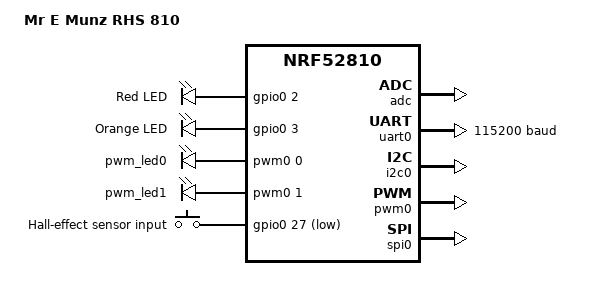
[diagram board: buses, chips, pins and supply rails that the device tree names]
/*
 * Copyright (c) 2024 Mr E Munz
 * All rights reserved
 */

/dts-v1/;
#include <nordic/nrf52810_qfaa.dtsi>
#include "emunz_rhs810-pinctrl.dtsi"
#include <zephyr/dt-bindings/input/input-event-codes.h>

/ {
	model = "Mr E Munz RHS 810";
	compatible = "nordic,nrf52-dk-nrf52810";

	chosen {
		zephyr,console = &uart0;
		zephyr,shell-uart = &uart0;
		zephyr,uart-mcumgr = &uart0;
		zephyr,bt-mon-uart = &uart0;
		zephyr,bt-c2h-uart = &uart0;
		zephyr,sram = &sram0;
		zephyr,flash = &flash0;
		zephyr,code-partition = &slot0_partition;
	};

	leds {
		compatible = "gpio-leds";
		led0: led_0 {
			gpios = <&gpio0 2 GPIO_ACTIVE_HIGH>;
			label = "Red LED";
		};
		led1: led_1 {
			gpios = <&gpio0 3 GPIO_ACTIVE_HIGH>;
			label = "Orange LED";
		};
	};


	user_led: pwmleds {
		compatible = "pwm-leds";
		pwm_led0: pwm_led_0 {
			pwms = <&pwm0 0 PWM_MSEC(2) PWM_POLARITY_NORMAL>;
		};
		pwm_led1: pwm_led_1 {
			pwms = <&pwm0 1 PWM_MSEC(2) PWM_POLARITY_NORMAL>;
		};
	};

	buttons {
		compatible = "gpio-keys";
		button0: button_0 {
			label = "Hall-effect sensor input";
			gpios = <&gpio0 27 (GPIO_ACTIVE_LOW)>;
		};
	};

	/* These aliases are provided for compatibility with samples */
	aliases {
		led0 = &led0;
		led1 = &led1;
		pwm-led0 = &pwm_led0;
		pwm-led1 = &pwm_led1;
		hall-sw = &button0;
		watchdog0 = &wdt0;
	};
};

&adc {
	status = "okay";
};

&uicr {
	gpio-as-nreset;
};

&gpiote {
	status = "okay";
};

&gpio0 {
	status = "okay";
};

&uart0 {
	compatible = "nordic,nrf-uarte";
	status = "okay";
	current-speed = <115200>;
	pinctrl-0 = <&uart0_default>;
	pinctrl-1 = <&uart0_sleep>;
	pinctrl-names = "default", "sleep";
};

&i2c0 {
	compatible = "nordic,nrf-twi";
	status = "okay";
	/* Arduino compatible PINs */
	pinctrl-0 = <&i2c0_default>;
	pinctrl-1 = <&i2c0_sleep>;
	pinctrl-names = "default", "sleep";
};

&pwm0 {
	status = "okay";
	pinctrl-0 = <&pwm0_default>;
	pinctrl-1 = <&pwm0_sleep>;
	pinctrl-names = "default", "sleep";
};

&spi0 {
	compatible = "nordic,nrf-spi";
	status = "okay";
	pinctrl-0 = <&spi0_default>;
	pinctrl-1 = <&spi0_sleep>;
	pinctrl-names = "default", "sleep";
};

&flash0 {

	partitions {
		compatible = "fixed-partitions";
		#address-cells = <1>;
		#size-cells = <1>;

		slot0_partition: partition@0 {
			label = "image-0";
			reg = <0x00000000 0x2d000>;
		};
		storage_partition: partition@2d000 {
			label = "storage";
			reg = <0x0002d000 0x00003000>;
		};
	};
};
